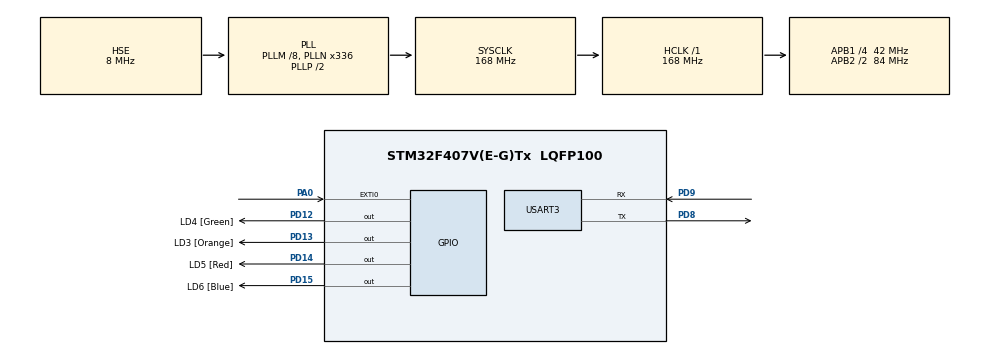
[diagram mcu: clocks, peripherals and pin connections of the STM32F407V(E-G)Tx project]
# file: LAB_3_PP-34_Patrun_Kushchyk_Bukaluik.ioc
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FREERTOS.Tasks01=defaultTask,24,128,StartDefaultTask,Default,NULL,Dynamic,NULL,NULL
FREERTOS.configUSE_NEWLIB_REENTRANT=1
Mcu.Family=STM32F4
Mcu.Name=STM32F407V(E-G)Tx
Mcu.Package=LQFP100
NVIC.EXTI0_IRQn=true\:5\:0\:false\:false\:true\:false\:true\:true\:true
NVIC.PriorityGroup=NVIC_PRIORITYGROUP_4
NVIC.TIM1_UP_TIM10_IRQn=true\:15\:0\:false\:false\:true\:false\:false\:true\:true
NVIC.TimeBase=TIM1_UP_TIM10_IRQn
NVIC.TimeBaseIP=TIM1
PA0-WKUP.GPIO_ModeDefaultEXTI=GPIO_MODE_IT_RISING_FALLING
PA0-WKUP.Signal=GPXTI0
PA13.Mode=Serial_Wire
PA13.Signal=SYS_JTMS-SWDIO
PA14.Mode=Serial_Wire
PA14.Signal=SYS_JTCK-SWCLK
PC14-OSC32_IN.Mode=LSE-External-Oscillator
PC14-OSC32_IN.Signal=RCC_OSC32_IN
PC15-OSC32_OUT.Mode=LSE-External-Oscillator
PC15-OSC32_OUT.Signal=RCC_OSC32_OUT
PD12.GPIO_Label=LD4 [Green]
PD12.Signal=GPIO_Output
PD13.GPIO_Label=LD3 [Orange]
PD13.Signal=GPIO_Output
PD14.GPIO_Label=LD5 [Red]
PD14.Signal=GPIO_Output
PD15.GPIO_Label=LD6 [Blue]
PD15.Signal=GPIO_Output
PD8.Mode=Asynchronous
PD8.Signal=USART3_TX
PD9.Mode=Asynchronous
PD9.Signal=USART3_RX
PH0-OSC_IN.Mode=HSE-External-Oscillator
PH0-OSC_IN.Signal=RCC_OSC_IN
PH1-OSC_OUT.Mode=HSE-External-Oscillator
PH1-OSC_OUT.Signal=RCC_OSC_OUT
ProjectManager.HeapSize=0x200
ProjectManager.StackSize=0x400
ProjectManager.TargetToolchain=STM32CubeIDE
RCC.48MHZClocksFreq_Value=84000000
RCC.AHBFreq_Value=168000000
RCC.APB1CLKDivider=RCC_HCLK_DIV4
RCC.APB1Freq_Value=42000000
RCC.APB1TimFreq_Value=84000000
RCC.APB2CLKDivider=RCC_HCLK_DIV2
RCC.APB2Freq_Value=84000000
RCC.APB2TimFreq_Value=168000000
RCC.CortexFreq_Value=168000000
RCC.HCLKFreq_Value=168000000
RCC.HSE_VALUE=8000000
RCC.HSI_VALUE=16000000
RCC.PLLM=8
RCC.PLLN=336
RCC.PLLSourceVirtual=RCC_PLLSOURCE_HSE
RCC.SYSCLKFreq_VALUE=168000000
RCC.SYSCLKSource=RCC_SYSCLKSOURCE_PLLCLK
RCC.VCOOutputFreq_Value=336000000
USART3.VirtualMode=VM_ASYNC
VP_FREERTOS_VS_CMSIS_V2.Mode=CMSIS_V2
VP_SYS_VS_tim1.Mode=TIM1
board=custom

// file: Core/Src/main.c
/* USER CODE BEGIN Header */
/**
  ******************************************************************************
  * @file           : main.c
  * @brief          : Main program body
  ******************************************************************************
  * @attention
  *
  * Copyright (c) 2024 STMicroelectronics.
  * All rights reserved.
  *
  * This software is licensed under terms that can be found in the LICENSE file
  * in the root directory of this software component.
  * If no LICENSE file comes with this software, it is provided AS-IS.
  *
  ******************************************************************************
  */
/* USER CODE END Header */
#include "main.h"
#include "cmsis_os.h"

/* USER CODE BEGIN Includes */
#include "stdio.h"
#include "string.h"
#include "stdlib.h"
/* USER CODE END Includes */

UART_HandleTypeDef huart3;

/* Definitions for defaultTask */
osThreadId_t defaultTaskHandle;
const osThreadAttr_t defaultTask_attributes = {
  .name = "defaultTask",
  .stack_size = 128 * 4,
  .priority = (osPriority_t) osPriorityNormal,
};
/* USER CODE BEGIN PV */
volatile uint32_t blinkInterval = 1000; // Інтервал миготіння в мс (1000 мс за замовчуванням)
volatile uint8_t activeLeds = 0; // Бітова маска активних діодів (0 - всі вимкнені)
uint32_t currentClick = 0;
uint32_t prevClick = 0;
/* USER CODE END PV */

void SystemClock_Config(void);
static void MX_GPIO_Init(void);
static void MX_USART3_UART_Init(void);
void StartDefaultTask(void *argument);

/* USER CODE BEGIN PFP */
void UARTCommandTask(void *argument);
void LedBlinkTask(void *argument);
/* USER CODE END PFP */

/* USER CODE BEGIN 0 */
int __io_putchar(int ch)
{
	HAL_UART_Transmit(&huart3, (uint8_t *)&ch, 1, 200);
	return ch;
}

/* USER CODE END 0 */

int main(void)
{

  /* MCU Configuration--------------------------------------------------------*/

  /* Reset of all peripherals, Initializes the Flash interface and the Systick. */
  HAL_Init();

  /* Configure the system clock */
  SystemClock_Config();

  /* Initialize all configured peripherals */
  MX_GPIO_Init();
  MX_USART3_UART_Init();

  /* Init scheduler */
  osKernelInitialize();

  /* Create the thread(s) */
  /* creation of defaultTask */
  defaultTaskHandle = osThreadNew(StartDefaultTask, NULL, &defaultTask_attributes);

  /* Start scheduler */
  osKernelStart();

  /* We should never get here as control is now taken by the scheduler */

  /* Infinite loop */
  while (1)
  {

  }
}

void SystemClock_Config(void)
{
  RCC_OscInitTypeDef RCC_OscInitStruct = {0};
  RCC_ClkInitTypeDef RCC_ClkInitStruct = {0};

  /** Configure the main internal regulator output voltage
  */
  __HAL_RCC_PWR_CLK_ENABLE();
  __HAL_PWR_VOLTAGESCALING_CONFIG(PWR_REGULATOR_VOLTAGE_SCALE1);

  /** Initializes the RCC Oscillators according to the specified parameters
  * in the RCC_OscInitTypeDef structure.
  */
  RCC_OscInitStruct.OscillatorType = RCC_OSCILLATORTYPE_HSE;
  RCC_OscInitStruct.HSEState = RCC_HSE_ON;
  RCC_OscInitStruct.PLL.PLLState = RCC_PLL_ON;
  RCC_OscInitStruct.PLL.PLLSource = RCC_PLLSOURCE_HSE;
  RCC_OscInitStruct.PLL.PLLM = 8;
  RCC_OscInitStruct.PLL.PLLN = 336;
  RCC_OscInitStruct.PLL.PLLP = RCC_PLLP_DIV2;
  RCC_OscInitStruct.PLL.PLLQ = 4;
  if (HAL_RCC_OscConfig(&RCC_OscInitStruct) != HAL_OK)
  {
    Error_Handler();
  }

  /** Initializes the CPU, AHB and APB buses clocks
  */
  RCC_ClkInitStruct.ClockType = RCC_CLOCKTYPE_HCLK|RCC_CLOCKTYPE_SYSCLK
                              |RCC_CLOCKTYPE_PCLK1|RCC_CLOCKTYPE_PCLK2;
  RCC_ClkInitStruct.SYSCLKSource = RCC_SYSCLKSOURCE_PLLCLK;
  RCC_ClkInitStruct.AHBCLKDivider = RCC_SYSCLK_DIV1;
  RCC_ClkInitStruct.APB1CLKDivider = RCC_HCLK_DIV4;
  RCC_ClkInitStruct.APB2CLKDivider = RCC_HCLK_DIV2;

  if (HAL_RCC_ClockConfig(&RCC_ClkInitStruct, FLASH_LATENCY_5) != HAL_OK)
  {
    Error_Handler();
  }
}

static void MX_USART3_UART_Init(void)
{

  huart3.Instance = USART3;
  huart3.Init.BaudRate = 115200;
  huart3.Init.WordLength = UART_WORDLENGTH_8B;
  huart3.Init.StopBits = UART_STOPBITS_1;
  huart3.Init.Parity = UART_PARITY_NONE;
  huart3.Init.Mode = UART_MODE_TX_RX;
  huart3.Init.HwFlowCtl = UART_HWCONTROL_NONE;
  huart3.Init.OverSampling = UART_OVERSAMPLING_16;
  if (HAL_UART_Init(&huart3) != HAL_OK)
  {
    Error_Handler();
  }

}

static void MX_GPIO_Init(void)
{
  GPIO_InitTypeDef GPIO_InitStruct = {0};

  /* GPIO Ports Clock Enable */
  __HAL_RCC_GPIOC_CLK_ENABLE();
  __HAL_RCC_GPIOH_CLK_ENABLE();
  __HAL_RCC_GPIOA_CLK_ENABLE();
  __HAL_RCC_GPIOD_CLK_ENABLE();

  /*Configure GPIO pin Output Level */
  HAL_GPIO_WritePin(GPIOD, LD4_Pin|LD3_Pin|LD5_Pin|LD6_Pin, GPIO_PIN_RESET);

  /*Configure GPIO pin : PA0 */
  GPIO_InitStruct.Pin = GPIO_PIN_0;
  GPIO_InitStruct.Mode = GPIO_MODE_IT_RISING_FALLING;
  GPIO_InitStruct.Pull = GPIO_NOPULL;
  HAL_GPIO_Init(GPIOA, &GPIO_InitStruct);

  /*Configure GPIO pins : LD4_Pin LD3_Pin LD5_Pin LD6_Pin */
  GPIO_InitStruct.Pin = LD4_Pin|LD3_Pin|LD5_Pin|LD6_Pin;
  GPIO_InitStruct.Mode = GPIO_MODE_OUTPUT_PP;
  GPIO_InitStruct.Pull = GPIO_NOPULL;
  GPIO_InitStruct.Speed = GPIO_SPEED_FREQ_LOW;
  HAL_GPIO_Init(GPIOD, &GPIO_InitStruct);

  /* EXTI interrupt init*/
  HAL_NVIC_SetPriority(EXTI0_IRQn, 5, 0);
  HAL_NVIC_EnableIRQ(EXTI0_IRQn);

}

/* USER CODE BEGIN 4 */
void HAL_GPIO_EXTI_Callback(uint16_t GPIO_Pin)
{
	currentClick = HAL_GetTick();
	if (GPIO_Pin == GPIO_PIN_0 && (currentClick - prevClick > 10))
	{
		activeLeds = 0;
		HAL_GPIO_WritePin(GPIOD, GPIO_PIN_12, GPIO_PIN_RESET);
		HAL_GPIO_WritePin(GPIOD, GPIO_PIN_13, GPIO_PIN_RESET);
		HAL_GPIO_WritePin(GPIOD, GPIO_PIN_14, GPIO_PIN_RESET);
		HAL_GPIO_WritePin(GPIOD, GPIO_PIN_15, GPIO_PIN_RESET);

		prevClick = currentClick;
	}
}

void PrintFrequencyInfo() {
    printf("Frequency set to %ld ms\n\r", blinkInterval); // Відповідь через UART
}

void PrintLedInfo() {
    printf("LED %d turned ON\n\r", activeLeds);
}

void PrintErrorInfo(const char *message) {
    printf("Error: %s\n\r", message);
}

void ParseCommand(const char *input) {
    if (strncmp(input, "SET FREQ ", 9) == 0) {
        // Обробка команди "SET FREQ X"
        int freq = atoi(&input[9]); // Перетворення числа після "SET FREQ "
        if (freq >= 100 && freq <= 2000) {
            blinkInterval = (uint32_t)freq;
            PrintFrequencyInfo();
            //printf("Frequency set to %d ms\n", freq); // Відповідь через UART
        } else {
            PrintErrorInfo("Frequency out of range (100-2000 ms)");
            //printf("Error: Frequency out of range (100-2000 ms)\n");
        }
    } else if (strncmp(input, "SET ON ", 7) == 0) {
        // Обробка команди "SET ON X"
        int ledNumber = atoi(&input[7]); // Перетворення числа після "SET ON "
        if (ledNumber >= 1 && ledNumber <= 2) {
            activeLeds = (1 << (ledNumber - 1));
            PrintLedInfo();
           // printf("LED %d turned ON\n", ledNumber);
        } else {
            PrintErrorInfo("LED number out of range (1-2)");
            //printf("Error: LED number out of range (1-2)\n");
        }
    } else {
        PrintErrorInfo("Unknown command");
        //printf("Error: Unknown command '%s'\n", input);
    }

    printf("Result: frequency=%ld LED=%d\n\r", blinkInterval, activeLeds);
}
/* USER CODE END 4 */

void StartDefaultTask(void *argument)
{
  /* USER CODE BEGIN 5 */
	uint8_t buffer[100];  // Буфер для збереження рядка
	uint8_t chr;          // Тимчасовий байт
	uint8_t index = 0;    // Індекс для запису в буфер
	HAL_StatusTypeDef status = HAL_ERROR;
	/* Infinite loop */
	for (;;)
	{
		status = HAL_UART_Receive(&huart3, &chr, 1, 100);
		if (status == HAL_OK)
		{
			HAL_UART_Transmit(&huart3, &chr, 1, 100); // Відправляємо символ назад (echo)

			if (chr == '\r')  // Символ завершення команди (Enter)
			{
				buffer[index] = '\0';  // Завершуємо рядок
				// Обробка отриманої команди
				ParseCommand((char*) buffer);
				memset(buffer, 0, sizeof(buffer));
				index = 0;  // Очищення індексу для наступного рядка
			}
			else
			{
				buffer[index++] = chr;  // Додаємо символ у буфер
				if (index >= sizeof(buffer))  // Запобігаємо переповненню
				{
					index = 0;
					memset(buffer, 0, sizeof(buffer));
					printf("Error: Buffer overflow\n");
				}
			}

		}
		osDelay(1);
  /* USER CODE END 5 */
}

void HAL_TIM_PeriodElapsedCallback(TIM_HandleTypeDef *htim)
{
  if (htim->Instance == TIM1) {
    HAL_IncTick();
  }
}

void Error_Handler(void)
{
  __disable_irq();
  while (1)
  {
  }
}
